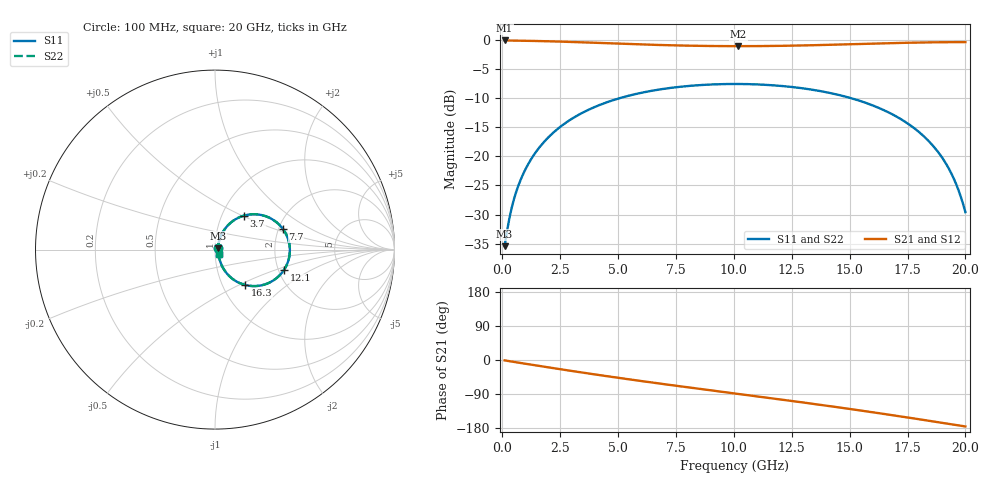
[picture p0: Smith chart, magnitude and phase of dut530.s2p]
! Touchstone file exported from HFSS 2026.1.0
!  File:  C:/ffzhzh/LocalFiles/Ansys_Project_Files/temp_train_TSV_RDL_530_1783111882_46604.aedt
!  Generated:  04:59:22 AM Jul  4, 2026
!  Design:  TSV_RDL
!  Project:  temp_train_TSV_RDL_530_1783111882_46604
! Variables:
!  h_bsmrdl = 4.06um
!  h_ox = 20um
!  h_rdl = 5um
!  h_sub = 58.93um
!  h_tmrdl = 3.95um
!  h_tsv = 58.93um
!  h_via = 3um
!  l_bsmrdl = 375.89um
!  l_sub = 2929.45um
!  l_tmrdl = 325.11um
!  m_sub = 200um
!  pitch = 37.37um
!  r_tsv = 11.85um
!  s_tmrdl = 10um
!  w_bsmrdl = 11.9um
!  w_sub = 500um
!  w_tmrdl = 21.88um
!  x_tsv_center1 = 336.05um
!  x_tsv_center2 = 723.84um
!  x_tsv_center3 = 1070.83um
!  x_tsv_center4 = 1458.62um
!  x_tsv_center5 = 1805.61um
!  x_tsv_center6 = 2193.4um
# GHz S MA R 50.000000
! Terminal data exported
! Port[1] = TM_RDL1_1_T1
! Port[2] = TM_RDL5_1_T1
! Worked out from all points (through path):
!   200 points, 100 MHz to 20 GHz, reference 50 ohm
!   highest |S21| = -0.13 dB at 100 MHz (marker M1); lowest = -1.1 dB at 10.2 GHz (marker M2)
!   group delay of S21, straight-line fit = 23.6 ps
!   lowest |S11| = -35.4 dB at 100 MHz (marker M3), VSWR 1.03, Z = 51.5 + j0.834 ohm
!   |S11| at or under -10 dB: start of sweep to 5.096 GHz; 15.03 GHz to end of sweep
!   |S22| runs from -35.4 to -7.6 dB; largest |S21 - S12| = 7.8e-14
!   S11 on the Smith chart (normalised r, x): 100 MHz: 1.03, +0.02; 3.7 GHz: 1.27, +0.51; 7.7 GHz: 2.10, +0.58; 12.1 GHz: 2.14, -0.58; 16.3 GHz: 1.27, -0.54; 20 GHz: 1.04, -0.05
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0.1  0.01694 28.5  0.9852 -1.0  0.9852 -1.0  0.01694 28.5
! Gamma 0 0 0 0
! Port Impedance 50 0 50 0
0.3  0.02896 53.7  0.9839 -3.1  0.9839 -3.1  0.02896 53.7
0.5  0.04259 61.6  0.9823 -5.0  0.9823 -5.0  0.04259 61.6
0.8  0.06337 65.7  0.9801 -8.0  0.9801 -8.0  0.06337 65.7
1.2  0.09129 66.4  0.9772 -11.8  0.9772 -11.8  0.09129 66.4
2.2  0.1593 61.3  0.9671 -21.4  0.9671 -21.4  0.1593 61.3
3.5  0.2384 51.1  0.9489 -33.6  0.9489 -33.6  0.2384 51.1
3.7  0.2494 49.5  0.9458 -35.4  0.9458 -35.4  0.2494 49.5
5.2  0.3205 37.1  0.9225 -48.7  0.9225 -48.7  0.3205 37.1
6.8  0.3744 24.2  0.9008 -62.2  0.9008 -62.2  0.3744 24.2
7.7  0.3949 17.1  0.8916 -69.5  0.8916 -69.5  0.3949 17.1
10.1  0.4171 -1.3  0.8803 -88.8  0.8803 -88.8  0.4171 -1.3
10.2  0.417 -2.1  0.8803 -89.6  0.8803 -89.6  0.417 -2.1
12.1  0.4003 -16.6  0.8862 -104.8  0.8862 -104.8  0.4003 -16.6
13.4  0.3719 -26.7  0.8965 -115.5  0.8965 -115.5  0.3719 -26.7
14.9  0.3216 -38.6  0.9126 -128.3  0.9126 -128.3  0.3216 -38.6
16.3  0.2579 -49.7  0.929 -140.7  0.929 -140.7  0.2579 -49.7
16.7  0.2369 -52.9  0.9334 -144.3  0.9334 -144.3  0.2369 -52.9
17.9  0.1674 -61.7  0.9449 -155.4  0.9449 -155.4  0.1674 -61.7
18.8  0.1101 -66.4  0.9507 -163.9  0.9507 -163.9  0.1101 -66.4
19.5  0.06423 -65.4  0.953 -170.6  0.953 -170.6  0.06425 -65.4
20  0.03317 -51.6  0.9534 -175.4  0.9534 -175.4  0.0332 -51.5
